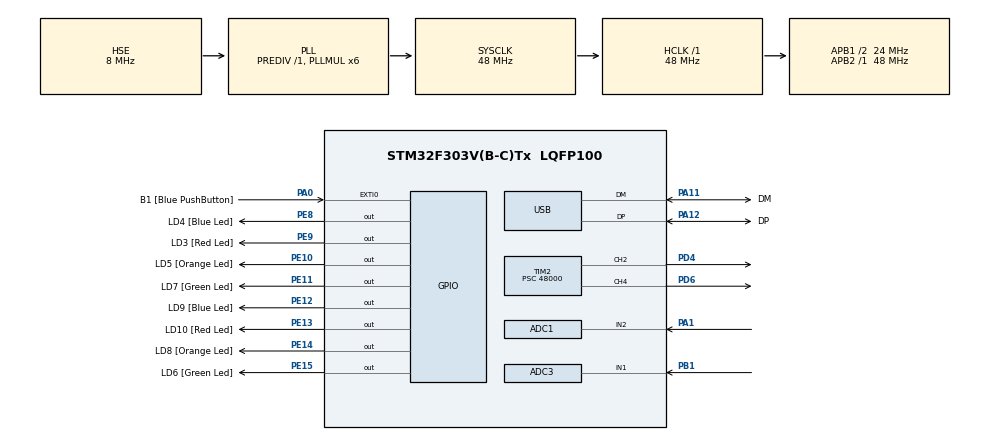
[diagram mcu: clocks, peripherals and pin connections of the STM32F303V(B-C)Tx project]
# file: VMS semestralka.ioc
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ADC1.Channel-8\#ChannelRegularConversion=ADC_CHANNEL_2
ADC1.ClockPrescaler=ADC_CLOCK_SYNC_PCLK_DIV1
ADC1.NbrOfConversionFlag=1
ADC1.Offset-8\#ChannelRegularConversion=0
ADC1.OffsetNumber-8\#ChannelRegularConversion=ADC_OFFSET_NONE
ADC1.Rank-8\#ChannelRegularConversion=1
ADC1.Resolution=ADC_RESOLUTION_8B
ADC1.SamplingTime-8\#ChannelRegularConversion=ADC_SAMPLETIME_1CYCLE_5
ADC1.SamplingTimeOPAMP-8\#ChannelRegularConversion=ADC_SAMPLETIME_19CYCLES_5
ADC1.master=1
ADC3.Channel-0\#ChannelRegularConversion=ADC_CHANNEL_1
ADC3.ClockPrescaler=ADC_CLOCK_SYNC_PCLK_DIV4
ADC3.ContinuousConvMode=ENABLE
ADC3.NbrOfConversionFlag=1
ADC3.Offset-0\#ChannelRegularConversion=0
ADC3.OffsetNumber-0\#ChannelRegularConversion=ADC_OFFSET_NONE
ADC3.Rank-0\#ChannelRegularConversion=1
ADC3.SamplingTime-0\#ChannelRegularConversion=ADC_SAMPLETIME_1CYCLE_5
ADC3.SamplingTimeOPAMP-0\#ChannelRegularConversion=ADC_SAMPLETIME_19CYCLES_5
ADC3.master=1
Mcu.Family=STM32F3
Mcu.Name=STM32F303V(B-C)Tx
Mcu.Package=LQFP100
NVIC.ADC3_IRQn=true\:0\:0\:false\:false\:true\:true\:true\:true
NVIC.EXTI0_IRQn=true\:0\:0\:false\:false\:true\:true\:true\:true
NVIC.PriorityGroup=NVIC_PRIORITYGROUP_0
NVIC.TIM1_TRG_COM_TIM17_IRQn=true\:0\:0\:false\:false\:true\:true\:true\:true
NVIC.TIM1_UP_TIM16_IRQn=true\:0\:0\:false\:false\:true\:true\:true\:true
NVIC.TIM2_IRQn=true\:0\:0\:false\:false\:true\:true\:true\:true
NVIC.USB_LP_CAN_RX0_IRQn=true\:0\:0\:false\:false\:true\:false\:true\:true
PA0.GPIO_Label=B1 [Blue PushButton]
PA0.GPIO_PuPd=GPIO_PULLDOWN
PA0.Signal=GPXTI0
PA1.Mode=IN2-Single-Ended
PA1.Signal=ADC1_IN2
PA11.GPIO_Label=DM
PA11.Mode=Device
PA11.Signal=USB_DM
PA12.GPIO_Label=DP
PA12.Mode=Device
PA12.Signal=USB_DP
PA13.GPIO_Label=SWDIO
PA13.Mode=Serial_Wire
PA13.Signal=SYS_JTMS-SWDIO
PA14.GPIO_Label=SWCLK
PA14.Mode=Serial_Wire
PA14.Signal=SYS_JTCK-SWCLK
PB1.Mode=IN1-Single-Ended
PB1.Signal=ADC3_IN1
PB3.GPIO_Label=SWO
PB3.Signal=SYS_JTDO-TRACESWO
PD4.Signal=S_TIM2_CH2
PD6.Signal=S_TIM2_CH4
PE10.GPIO_Label=LD5 [Orange Led]
PE10.Signal=GPIO_Output
PE11.GPIO_Label=LD7 [Green Led]
PE11.Signal=GPIO_Output
PE12.GPIO_Label=LD9 [Blue Led]
PE12.Signal=GPIO_Output
PE13.GPIO_Label=LD10 [Red Led]
PE13.Signal=GPIO_Output
PE14.GPIO_Label=LD8 [Orange Led]
PE14.Signal=GPIO_Output
PE15.GPIO_Label=LD6 [Green Led]
PE15.Signal=GPIO_Output
PE8.GPIO_Label=LD4 [Blue Led]
PE8.Signal=GPIO_Output
PE9.GPIO_Label=LD3 [Red Led]
PE9.Signal=GPIO_Output
PF0-OSC_IN.GPIO_Label=OSC_IN
PF0-OSC_IN.Mode=HSE-External-Clock-Source
PF0-OSC_IN.Signal=RCC_OSC_IN
ProjectManager.HeapSize=0x200
ProjectManager.StackSize=0x400
ProjectManager.TargetToolchain=STM32CubeIDE
RCC.AHBFreq_Value=48000000
RCC.APB1CLKDivider=RCC_HCLK_DIV2
RCC.APB1Freq_Value=24000000
RCC.APB1TimFreq_Value=48000000
RCC.APB2Freq_Value=48000000
RCC.APB2TimFreq_Value=48000000
RCC.CortexFreq_Value=48000000
RCC.HCLKFreq_Value=48000000
RCC.HSE_VALUE=8000000
RCC.HSI_VALUE=8000000
RCC.LSE_VALUE=32768
RCC.PLLMUL=RCC_PLL_MUL6
RCC.SYSCLKFreq_VALUE=48000000
RCC.SYSCLKSourceVirtual=RCC_SYSCLKSOURCE_PLLCLK
RCC.USBFreq_Value=48000000
SH.S_TIM2_CH2.0=TIM2_CH2,PWM Generation2 CH2
SH.S_TIM2_CH4.0=TIM2_CH4,PWM Generation4 CH4
TIM16.Period=250
TIM16.Prescaler=48000
TIM17.Period=1000
TIM17.Prescaler=48000
TIM2.Channel-PWM\ Generation2\ CH2=TIM_CHANNEL_2
TIM2.Channel-PWM\ Generation4\ CH4=TIM_CHANNEL_4
TIM2.Period=1000
TIM2.Prescaler=48000
USB_DEVICE.CLASS_NAME_FS=CDC
USB_DEVICE.VirtualMode=Cdc
USB_DEVICE.VirtualModeFS=Cdc_FS
VP_TIM16_VS_ClockSourceINT.Mode=Enable_Timer
VP_TIM17_VS_ClockSourceINT.Mode=Enable_Timer
VP_TIM2_VS_ClockSourceINT.Mode=Internal
VP_USB_DEVICE_VS_USB_DEVICE_CDC_FS.Mode=CDC_FS
board=STM32F3DISCOVERY

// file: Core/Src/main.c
/* USER CODE BEGIN Header */
/**
 ******************************************************************************
 * @file           : main.c
 * @brief          : Main program body
 ******************************************************************************
 * @attention
 *
 * Copyright (c) 2023 STMicroelectronics.
 * All rights reserved.
 *
 * This software is licensed under terms that can be found in the LICENSE file
 * in the root directory of this software component.
 * If no LICENSE file comes with this software, it is provided AS-IS.
 *
 ******************************************************************************
 */
/* USER CODE END Header */
#include "main.h"
#include "usb_device.h"

#include "..\..\Helpers/monitor.h"
#include "..\..\Helpers/GPIO_helper.h"
#include "..\..\Helpers/USB_helper.h"

ADC_HandleTypeDef hadc1;
ADC_HandleTypeDef hadc3;

TIM_HandleTypeDef htim2;
TIM_HandleTypeDef htim16;
TIM_HandleTypeDef htim17;

void SystemClock_Config(void);
static void MX_GPIO_Init(void);
static void MX_ADC1_Init(void);
static void MX_ADC3_Init(void);
static void MX_TIM17_Init(void);
static void MX_TIM16_Init(void);
static void MX_TIM2_Init(void);
/* USER CODE BEGIN PFP */

typedef enum
{
	DOLEVA = -1,
	DOPRAVA = 1,
} SmerOtaceni;

uint8_t adc_comp=0;
uint16_t puls_old=0;
uint16_t puls_new=0;
uint16_t pulsu=0;
uint16_t RPM=0;
uint16_t tim16_Hz=0;

uint8_t adc_hod = 0; //ADC1 raw hodnota
uint16_t duty = 0;

SmerOtaceni smer_otaceni = DOPRAVA;
/* USER CODE END PFP */

/* USER CODE BEGIN 0 */
void HAL_TIM_PeriodElapsedCallback(TIM_HandleTypeDef *htim)
{
	if (htim == &htim17)
	{
		//TIM17_monitor();
		otocKruhem(smer_otaceni);
	}
	if (htim == &htim16)
	{
		//TIM16_monitor();
		uint32_t RPM_t=(pulsu*tim16_Hz*60);
		RPM=RPM_t/6;
		pulsu=0;

		posliUSB(adc_hod,RPM);
	}
	if (htim == &htim2)
	{
		//TIM2_monitor();
	}
}

void HAL_TIM_PWM_PulseFinishedCallback(TIM_HandleTypeDef *htim)
{
	//PWM_monitor(htim);
}

void zmenRychlost(TIM_HandleTypeDef *htim, float proc)
{
	uint16_t ctr_old=__HAL_TIM_GET_COUNTER(&htim17);

	uint16_t pr=1000-(proc*900);//100%=100 1%=1000
	__HAL_TIM_SET_AUTORELOAD(&htim17,pr);

	if(pr<ctr_old)//kdyz zmenim ve spatny okamzik tak pocita do 65k
	{
		__HAL_TIM_SET_COUNTER(&htim17,0);
	}
}

uint16_t dutyCycle(uint8_t adc, uint16_t period)
{
	uint8_t nula = 211;
	if(adc<=213)
	{
		p=0;
		return 0;
	}

	uint8_t min = 170;//nula-2*(255-211)
	float max = 255 - min;
	float val = adc - min;

	if (val < 0){val = 0;}
	if (adc >= 252){val = max;} //pri spatnem kontaktu nedosahne na max

	float proc = val / max;
	p = proc * 100;

	zmenRychlost(&htim17,proc);

	return proc * period;
}

void updateDuty(uint16_t duty)
{
	if (smer_otaceni == DOPRAVA)
	{
		__HAL_TIM_SetCompare(&htim2,TIM_CHANNEL_2,duty);
		__HAL_TIM_SetCompare(&htim2,TIM_CHANNEL_4,0);
	}
	else
	{
		__HAL_TIM_SetCompare(&htim2,TIM_CHANNEL_2,0);
		__HAL_TIM_SetCompare(&htim2,TIM_CHANNEL_4,duty);
	}
}
void zmenSmer()
{
	if (smer_otaceni == DOPRAVA)
	{
		smer_otaceni = DOLEVA;
	}
	else
	{
		smer_otaceni = DOPRAVA;
	}

	updateDuty(duty);
}

void zpracuj_ADC3(uint16_t val)
{
	//uint16_t puls_new=HAL_ADC_GetValue(&hadc3);

	if(val>200){puls_new=1;}
	else {puls_new=0;}

	if(puls_old<puls_new)
	{
		pulsu++;
	}

	puls_old=puls_new;
	adc3_old=val;
}

uint16_t cti_ADC(ADC_HandleTypeDef* hadc)
{
	uint16_t ret=0;
	HAL_ADC_Start(hadc);
	if (HAL_ADC_PollForConversion(hadc, 10) == HAL_OK)
	{
		ret = HAL_ADC_GetValue(hadc);
	}
	HAL_ADC_Stop(hadc);

	return ret;
}
uint16_t spocitejPerioduTIM(TIM_HandleTypeDef* htim)
{
	uint32_t APB2=HAL_RCC_GetPCLK2Freq();
	//uint32_t tim16_psc=&htim16.Instance->PSC; //z nejakeho duvodu vrací jinou hodnotu než debug
	uint32_t psc=htim->Instance->PSC; //musí být pointer jinak vrací adresy (nebo co to je)
	uint32_t arr=__HAL_TIM_GET_AUTORELOAD(htim);

	uint32_t speed=APB2/((psc+1)*(arr+1));//Hz
	return speed;
}
/* USER CODE END 0 */

int main(void)
{

  /* MCU Configuration--------------------------------------------------------*/

  /* Reset of all peripherals, Initializes the Flash interface and the Systick. */
  HAL_Init();

  /* Configure the system clock */
  SystemClock_Config();

  /* Initialize all configured peripherals */
  MX_GPIO_Init();
  MX_ADC1_Init();
  MX_ADC3_Init();
  MX_TIM17_Init();
  MX_USB_DEVICE_Init();
  MX_TIM16_Init();
  MX_TIM2_Init();
  /* USER CODE BEGIN 2 */

  defineKruh();
  tim16_Hz=spocitejPerioduTIM(&htim16);

  HAL_TIM_PWM_Start_IT(&htim2, TIM_CHANNEL_2);
  HAL_TIM_PWM_Start_IT(&htim2, TIM_CHANNEL_4);
  HAL_TIM_Base_Start_IT(&htim2); //pro kontrolu
  HAL_TIM_Base_Start_IT(&htim17);
  HAL_TIM_Base_Start_IT(&htim16);
  /* USER CODE END 2 */

  /* Infinite loop */
  /* USER CODE BEGIN WHILE */
	//HAL_StatusTypeDef s=HAL_ADCEx_Calibration_Start(&hadc1, ADC_SINGLE_ENDED);

  uint16_t tim2_arr=__HAL_TIM_GET_AUTORELOAD(&htim2);
	while (1)
	{
		adc_hod=cti_ADC(&hadc1);
		duty = dutyCycle(adc_hod, tim2_arr);
		updateDuty(duty);

		adc3_new=cti_ADC(&hadc3);
		zpracuj_ADC3(adc3_new);

		/*char bufferADC[4]={0};
		dec_ascii(adc_hod, bufferADC,4);
		uint8_t bufferADC_[6]={bufferADC[0],bufferADC[1],bufferADC[2],bufferADC[3],'\r','\n'};
		CDC_Transmit_FS(bufferADC_,strlen(bufferADC_));*/
		//posliUSB(adc_hod,RPM);

    /* USER CODE END WHILE */

	}
}

void SystemClock_Config(void)
{
  RCC_OscInitTypeDef RCC_OscInitStruct = {0};
  RCC_ClkInitTypeDef RCC_ClkInitStruct = {0};
  RCC_PeriphCLKInitTypeDef PeriphClkInit = {0};

  /** Initializes the RCC Oscillators according to the specified parameters
  * in the RCC_OscInitTypeDef structure.
  */
  RCC_OscInitStruct.OscillatorType = RCC_OSCILLATORTYPE_HSE;
  RCC_OscInitStruct.HSEState = RCC_HSE_BYPASS;
  RCC_OscInitStruct.HSEPredivValue = RCC_HSE_PREDIV_DIV1;
  RCC_OscInitStruct.HSIState = RCC_HSI_ON;
  RCC_OscInitStruct.PLL.PLLState = RCC_PLL_ON;
  RCC_OscInitStruct.PLL.PLLSource = RCC_PLLSOURCE_HSE;
  RCC_OscInitStruct.PLL.PLLMUL = RCC_PLL_MUL6;
  if (HAL_RCC_OscConfig(&RCC_OscInitStruct) != HAL_OK)
  {
    Error_Handler();
  }

  /** Initializes the CPU, AHB and APB buses clocks
  */
  RCC_ClkInitStruct.ClockType = RCC_CLOCKTYPE_HCLK|RCC_CLOCKTYPE_SYSCLK
                              |RCC_CLOCKTYPE_PCLK1|RCC_CLOCKTYPE_PCLK2;
  RCC_ClkInitStruct.SYSCLKSource = RCC_SYSCLKSOURCE_PLLCLK;
  RCC_ClkInitStruct.AHBCLKDivider = RCC_SYSCLK_DIV1;
  RCC_ClkInitStruct.APB1CLKDivider = RCC_HCLK_DIV2;
  RCC_ClkInitStruct.APB2CLKDivider = RCC_HCLK_DIV1;

  if (HAL_RCC_ClockConfig(&RCC_ClkInitStruct, FLASH_LATENCY_1) != HAL_OK)
  {
    Error_Handler();
  }
  PeriphClkInit.PeriphClockSelection = RCC_PERIPHCLK_USB|RCC_PERIPHCLK_ADC12
                              |RCC_PERIPHCLK_ADC34;
  PeriphClkInit.Adc12ClockSelection = RCC_ADC12PLLCLK_DIV1;
  PeriphClkInit.Adc34ClockSelection = RCC_ADC34PLLCLK_DIV1;
  PeriphClkInit.USBClockSelection = RCC_USBCLKSOURCE_PLL;
  if (HAL_RCCEx_PeriphCLKConfig(&PeriphClkInit) != HAL_OK)
  {
    Error_Handler();
  }
}

static void MX_ADC1_Init(void)
{

  ADC_MultiModeTypeDef multimode = {0};
  ADC_ChannelConfTypeDef sConfig = {0};

  /** Common config
  */
  hadc1.Instance = ADC1;
  hadc1.Init.ClockPrescaler = ADC_CLOCK_ASYNC_DIV1;
  hadc1.Init.Resolution = ADC_RESOLUTION_8B;
  hadc1.Init.ScanConvMode = ADC_SCAN_DISABLE;
  hadc1.Init.ContinuousConvMode = DISABLE;
  hadc1.Init.DiscontinuousConvMode = DISABLE;
  hadc1.Init.ExternalTrigConvEdge = ADC_EXTERNALTRIGCONVEDGE_NONE;
  hadc1.Init.ExternalTrigConv = ADC_SOFTWARE_START;
  hadc1.Init.DataAlign = ADC_DATAALIGN_RIGHT;
  hadc1.Init.NbrOfConversion = 1;
  hadc1.Init.DMAContinuousRequests = DISABLE;
  hadc1.Init.EOCSelection = ADC_EOC_SINGLE_CONV;
  hadc1.Init.LowPowerAutoWait = DISABLE;
  hadc1.Init.Overrun = ADC_OVR_DATA_OVERWRITTEN;
  if (HAL_ADC_Init(&hadc1) != HAL_OK)
  {
    Error_Handler();
  }

  /** Configure the ADC multi-mode
  */
  multimode.Mode = ADC_MODE_INDEPENDENT;
  if (HAL_ADCEx_MultiModeConfigChannel(&hadc1, &multimode) != HAL_OK)
  {
    Error_Handler();
  }

  /** Configure Regular Channel
  */
  sConfig.Channel = ADC_CHANNEL_2;
  sConfig.Rank = ADC_REGULAR_RANK_1;
  sConfig.SingleDiff = ADC_SINGLE_ENDED;
  sConfig.SamplingTime = ADC_SAMPLETIME_1CYCLE_5;
  sConfig.OffsetNumber = ADC_OFFSET_NONE;
  sConfig.Offset = 0;
  if (HAL_ADC_ConfigChannel(&hadc1, &sConfig) != HAL_OK)
  {
    Error_Handler();
  }

}

static void MX_ADC3_Init(void)
{

  ADC_MultiModeTypeDef multimode = {0};
  ADC_ChannelConfTypeDef sConfig = {0};

  /** Common config
  */
  hadc3.Instance = ADC3;
  hadc3.Init.ClockPrescaler = ADC_CLOCK_ASYNC_DIV1;
  hadc3.Init.Resolution = ADC_RESOLUTION_12B;
  hadc3.Init.ScanConvMode = ADC_SCAN_DISABLE;
  hadc3.Init.ContinuousConvMode = DISABLE;
  hadc3.Init.DiscontinuousConvMode = DISABLE;
  hadc3.Init.ExternalTrigConvEdge = ADC_EXTERNALTRIGCONVEDGE_NONE;
  hadc3.Init.ExternalTrigConv = ADC_SOFTWARE_START;
  hadc3.Init.DataAlign = ADC_DATAALIGN_RIGHT;
  hadc3.Init.NbrOfConversion = 1;
  hadc3.Init.DMAContinuousRequests = DISABLE;
  hadc3.Init.EOCSelection = ADC_EOC_SINGLE_CONV;
  hadc3.Init.LowPowerAutoWait = DISABLE;
  hadc3.Init.Overrun = ADC_OVR_DATA_OVERWRITTEN;
  if (HAL_ADC_Init(&hadc3) != HAL_OK)
  {
    Error_Handler();
  }

  /** Configure the ADC multi-mode
  */
  multimode.Mode = ADC_MODE_INDEPENDENT;
  if (HAL_ADCEx_MultiModeConfigChannel(&hadc3, &multimode) != HAL_OK)
  {
    Error_Handler();
  }

  /** Configure Regular Channel
  */
  sConfig.Channel = ADC_CHANNEL_1;
  sConfig.Rank = ADC_REGULAR_RANK_1;
  sConfig.SingleDiff = ADC_SINGLE_ENDED;
  sConfig.SamplingTime = ADC_SAMPLETIME_1CYCLE_5;
  sConfig.OffsetNumber = ADC_OFFSET_NONE;
  sConfig.Offset = 0;
  if (HAL_ADC_ConfigChannel(&hadc3, &sConfig) != HAL_OK)
  {
    Error_Handler();
  }

}

static void MX_TIM2_Init(void)
{

  TIM_ClockConfigTypeDef sClockSourceConfig = {0};
  TIM_MasterConfigTypeDef sMasterConfig = {0};
  TIM_OC_InitTypeDef sConfigOC = {0};

  htim2.Instance = TIM2;
  htim2.Init.Prescaler = 48000-1;
  htim2.Init.CounterMode = TIM_COUNTERMODE_UP;
  htim2.Init.Period = 10-1;
  htim2.Init.ClockDivision = TIM_CLOCKDIVISION_DIV1;
  htim2.Init.AutoReloadPreload = TIM_AUTORELOAD_PRELOAD_DISABLE;
  if (HAL_TIM_Base_Init(&htim2) != HAL_OK)
  {
    Error_Handler();
  }
  sClockSourceConfig.ClockSource = TIM_CLOCKSOURCE_INTERNAL;
  if (HAL_TIM_ConfigClockSource(&htim2, &sClockSourceConfig) != HAL_OK)
  {
    Error_Handler();
  }
  if (HAL_TIM_PWM_Init(&htim2) != HAL_OK)
  {
    Error_Handler();
  }
  sMasterConfig.MasterOutputTrigger = TIM_TRGO_RESET;
  sMasterConfig.MasterSlaveMode = TIM_MASTERSLAVEMODE_DISABLE;
  if (HAL_TIMEx_MasterConfigSynchronization(&htim2, &sMasterConfig) != HAL_OK)
  {
    Error_Handler();
  }
  sConfigOC.OCMode = TIM_OCMODE_PWM1;
  sConfigOC.Pulse = 0;
  sConfigOC.OCPolarity = TIM_OCPOLARITY_HIGH;
  sConfigOC.OCFastMode = TIM_OCFAST_DISABLE;
  if (HAL_TIM_PWM_ConfigChannel(&htim2, &sConfigOC, TIM_CHANNEL_2) != HAL_OK)
  {
    Error_Handler();
  }
  if (HAL_TIM_PWM_ConfigChannel(&htim2, &sConfigOC, TIM_CHANNEL_4) != HAL_OK)
  {
    Error_Handler();
  }
  HAL_TIM_MspPostInit(&htim2);

}

static void MX_TIM16_Init(void)
{

  htim16.Instance = TIM16;
  htim16.Init.Prescaler = 48000-1;
  htim16.Init.CounterMode = TIM_COUNTERMODE_UP;
  htim16.Init.Period = 250-1;
  htim16.Init.ClockDivision = TIM_CLOCKDIVISION_DIV1;
  htim16.Init.RepetitionCounter = 0;
  htim16.Init.AutoReloadPreload = TIM_AUTORELOAD_PRELOAD_DISABLE;
  if (HAL_TIM_Base_Init(&htim16) != HAL_OK)
  {
    Error_Handler();
  }

}

static void MX_TIM17_Init(void)
{

  htim17.Instance = TIM17;
  htim17.Init.Prescaler = 48000-1;
  htim17.Init.CounterMode = TIM_COUNTERMODE_UP;
  htim17.Init.Period = 1000;
  htim17.Init.ClockDivision = TIM_CLOCKDIVISION_DIV1;
  htim17.Init.RepetitionCounter = 0;
  htim17.Init.AutoReloadPreload = TIM_AUTORELOAD_PRELOAD_DISABLE;
  if (HAL_TIM_Base_Init(&htim17) != HAL_OK)
  {
    Error_Handler();
  }

}

static void MX_GPIO_Init(void)
{
  GPIO_InitTypeDef GPIO_InitStruct = {0};

  /* GPIO Ports Clock Enable */
  __HAL_RCC_GPIOF_CLK_ENABLE();
  __HAL_RCC_GPIOA_CLK_ENABLE();
  __HAL_RCC_GPIOB_CLK_ENABLE();
  __HAL_RCC_GPIOE_CLK_ENABLE();
  __HAL_RCC_GPIOD_CLK_ENABLE();

  /*Configure GPIO pin Output Level */
  HAL_GPIO_WritePin(GPIOE, LD4_Pin|LD3_Pin|LD5_Pin|LD7_Pin
                          |LD9_Pin|LD10_Pin|LD8_Pin|LD6_Pin, GPIO_PIN_RESET);

  /*Configure GPIO pin : B1_Pin */
  GPIO_InitStruct.Pin = B1_Pin;
  GPIO_InitStruct.Mode = GPIO_MODE_IT_RISING;
  GPIO_InitStruct.Pull = GPIO_PULLDOWN;
  HAL_GPIO_Init(B1_GPIO_Port, &GPIO_InitStruct);

  /*Configure GPIO pins : LD4_Pin LD3_Pin LD5_Pin LD7_Pin
                           LD9_Pin LD10_Pin LD8_Pin LD6_Pin */
  GPIO_InitStruct.Pin = LD4_Pin|LD3_Pin|LD5_Pin|LD7_Pin
                          |LD9_Pin|LD10_Pin|LD8_Pin|LD6_Pin;
  GPIO_InitStruct.Mode = GPIO_MODE_OUTPUT_PP;
  GPIO_InitStruct.Pull = GPIO_NOPULL;
  GPIO_InitStruct.Speed = GPIO_SPEED_FREQ_LOW;
  HAL_GPIO_Init(GPIOE, &GPIO_InitStruct);

  /* EXTI interrupt init*/
  HAL_NVIC_SetPriority(EXTI0_IRQn, 0, 0);
  HAL_NVIC_EnableIRQ(EXTI0_IRQn);

}

void Error_Handler(void)
{
	__disable_irq();
	while (1)
	{
	}
}
